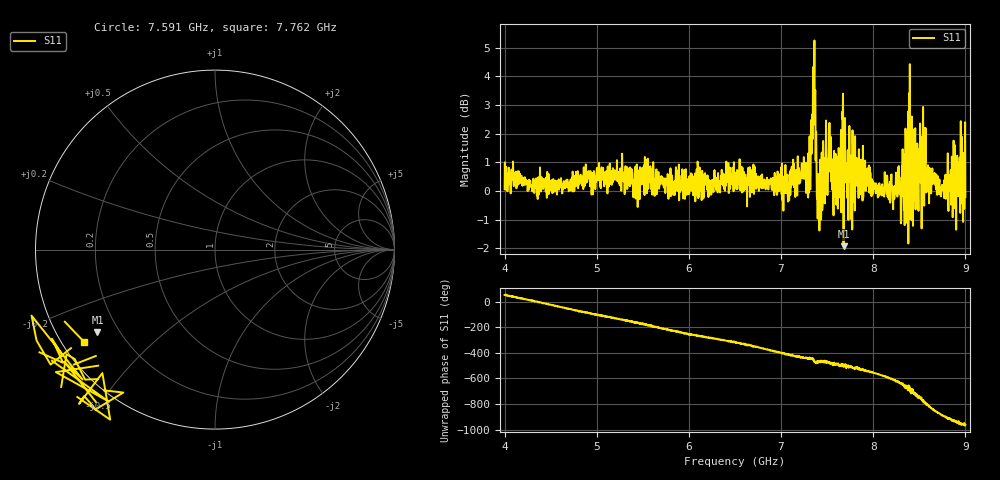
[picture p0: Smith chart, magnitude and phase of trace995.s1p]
! Created with skrf 1.8.0 (http://scikit-rf.org).
# Hz S RI R 50.0
!freq ReS11 ImS11
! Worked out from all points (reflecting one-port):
!   1601 points, 4 GHz to 9 GHz, reference 50 ohm
!   lowest |S11| = -1.9 dB at 7.678 GHz (marker M1), VSWR 9.04, Z = 6.08 - j15.6 ohm
!   phase of S11 starts at 51 deg and turns -1014 deg over the sweep
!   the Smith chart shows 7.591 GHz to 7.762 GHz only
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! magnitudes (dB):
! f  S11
! 4 GHz  0.1
! 4.625 GHz  -0.1
! 5.25 GHz  0.2
! 5.875 GHz  0.2
! 6.5 GHz  0.4
! 7.075 GHz  -0.4
! 7.125 GHz  0.4
! 7.294 GHz  -0.2
! 7.316 GHz  0.0
! 7.347 GHz  4.3
! 7.369 GHz  3.4
! 7.397 GHz  -1.0
! 7.412 GHz  0.5
! 7.512 GHz  1.1
! 7.591 GHz  1.3
! 7.678 GHz  -1.9
! 7.75 GHz  0.3
! 7.928 GHz  0.8
! 8.097 GHz  0.2
! 8.266 GHz  0.5
! 8.316 GHz  0.2
! 8.375 GHz  0.0
! 8.425 GHz  -0.9
! 8.544 GHz  1.0
! 8.597 GHz  0.0
! 8.744 GHz  0.0
! 8.953 GHz  -0.4
! 9 GHz  -0.2
